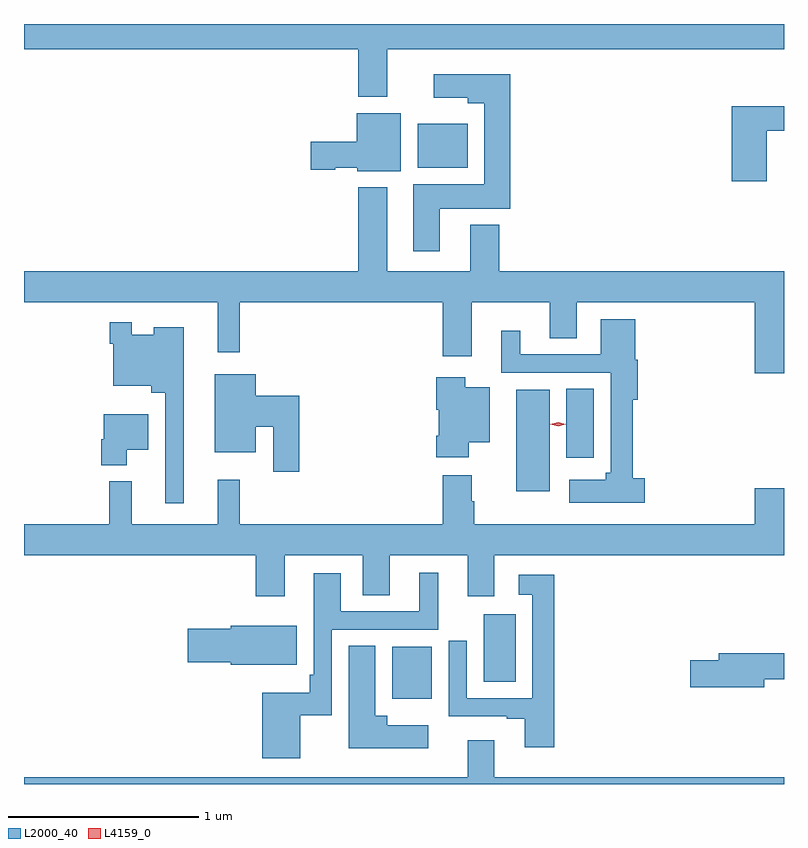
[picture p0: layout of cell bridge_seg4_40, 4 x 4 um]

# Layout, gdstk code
import gdstk
lib = gdstk.Library(unit=1e-6, precision=1e-09)
def R(c, l, rs):  # rectangles x0, y0, x1, y1
    for r in rs: c.add(gdstk.rectangle(r[:2], r[2:], *l))
def P(c, l, *ps):  # polygons
    for p in ps: c.add(gdstk.Polygon(p, *l))
L2000_40 = (2000, 40)
L4159_0 = (4159, 0)

bridge_seg4_40 = lib.new_cell('bridge_seg4_40')
R(bridge_seg4_40, L2000_40, [(678.584,810.716,678.793,810.991), (679.067,810.805,679.234,811.162), (679.238,811.808,679.414,812.344), (679.502,811.986,679.645,812.348), (678.719,813.512,678.982,813.742)])
P(bridge_seg4_40, L2000_40, [(678.559,814.136),(680.647,814.136),(680.647,814.268),(676.647,814.268),(676.647,814.136),(678.407,814.136),(678.407,813.884),(678.559,813.884)],
  [(678.835,813.296),(679.205,813.296),(679.205,814.003),(678.804,814.003),(678.804,813.881),(678.983,813.881),(678.983,813.851),(679.07,813.851),(679.07,813.424),(678.695,813.424),(678.695,813.072),(678.835,813.072)],
  [(680.555,813.706),(680.647,813.706),(680.647,813.835),(680.372,813.835),(680.372,813.441),(680.555,813.441)],
  [(678.631,813.799),(678.398,813.799),(678.398,813.647),(678.156,813.647),(678.156,813.5),(678.285,813.5),(678.285,813.512),(678.402,813.512),(678.402,813.494),(678.631,813.494)],
  [(680.647,812.968),(679.148,812.968),(679.148,813.211),(678.995,813.211),(678.995,812.968),(678.559,812.968),(678.559,813.409),(678.407,813.409),(678.407,812.968),(676.647,812.968),(676.647,812.804),(677.666,812.804),(677.666,812.541),(677.783,812.541),(677.783,812.804),(678.851,812.804),(678.851,812.52),(679.003,812.52),(679.003,812.804),(679.415,812.804),(679.415,812.614),(679.555,812.614),(679.555,812.804),(680.492,812.804),(680.492,812.43),(680.647,812.43)],
  [(679.915,811.878),(679.85,811.878),(679.85,812.291),(679.877,812.291),(679.877,812.502),(679.864,812.502),(679.864,812.713),(679.682,812.713),(679.682,812.529),(679.258,812.529),(679.258,812.653),(679.16,812.653),(679.16,812.433),(679.734,812.433),(679.734,811.905),(679.708,811.905),(679.708,811.87),(679.518,811.87),(679.518,811.748),(679.915,811.748)],
  [(677.488,812.671),(677.33,812.671),(677.33,812.632),(677.214,812.632),(677.214,812.698),(677.098,812.698),(677.098,812.585),(677.118,812.585),(677.118,812.363),(677.318,812.363),(677.318,812.327),(677.391,812.327),(677.391,811.746),(677.488,811.746)],
  [(678.095,812.312),(677.866,812.312),(677.866,812.425),(677.651,812.425),(677.651,812.015),(677.866,812.015),(677.866,812.147),(677.96,812.147),(677.96,811.911),(678.095,811.911)],
  [(678.988,812.066),(679.099,812.066),(679.099,812.356),(678.97,812.356),(678.97,812.41),(678.818,812.41),(678.818,812.237),(678.83,812.237),(678.83,812.101),(678.818,812.101),(678.818,811.989),(678.988,811.989)],
  [(677.188,812.027),(677.302,812.027),(677.302,812.215),(677.066,812.215),(677.066,812.082),(677.054,812.082),(677.054,811.946),(677.188,811.946)],
  [(677.867,811.257),(678.019,811.257),(678.019,811.472),(678.431,811.472),(678.431,811.261),(678.571,811.261),(678.571,811.472),(678.983,811.472),(678.983,811.257),(679.123,811.257),(679.123,811.472),(680.647,811.472),(680.647,811.825),(680.492,811.825),(680.492,811.636),(679.016,811.636),(679.016,811.757),(679.003,811.757),(679.003,811.894),(678.851,811.894),(678.851,811.636),(677.783,811.636),(677.783,811.87),(677.666,811.87),(677.666,811.636),(677.213,811.636),(677.213,811.861),(677.095,811.861),(677.095,811.636),(676.647,811.636),(676.647,811.472),(677.867,811.472)],
  [(678.1,810.631),(678.267,810.631),(678.267,811.08),(678.827,811.08),(678.827,811.381),(678.728,811.381),(678.728,811.176),(678.313,811.176),(678.313,811.378),(678.171,811.378),(678.171,810.844),(678.151,810.844),(678.151,810.748),(677.9,810.748),(677.9,810.404),(678.1,810.404)],
  [(679.439,811.369),(679.251,811.369),(679.251,811.263),(679.323,811.263),(679.323,810.72),(678.978,810.72),(678.978,811.021),(678.882,811.021),(678.882,810.624),(679.187,810.624),(679.187,810.612),(679.283,810.612),(679.283,810.462),(679.439,810.462)],
  [(678.082,811.102),(677.736,811.102),(677.736,811.086),(677.508,811.086),(677.508,810.908),(677.736,810.908),(677.736,810.896),(678.082,810.896)],
  [(678.775,810.577),(678.559,810.577),(678.559,810.628),(678.496,810.628),(678.496,810.995),(678.356,810.995),(678.356,810.455),(678.775,810.455)],
  [(680.542,810.82),(680.647,810.82),(680.647,810.956),(680.303,810.956),(680.303,810.92),(680.154,810.92),(680.154,810.778),(680.542,810.778)],
  [(680.647,810.304),(679.123,810.304),(679.123,810.499),(678.983,810.499),(678.983,810.304),(676.647,810.304),(676.647,810.268),(680.647,810.268)])
P(bridge_seg4_40, L4159_0, [(679.459,812.152),(679.418,812.161),(679.418,812.162),(679.418,812.162),(679.459,812.172),(679.499,812.162),(679.499,812.162),(679.499,812.162)])

lib.write_gds('bridge_seg4_40.gds')
